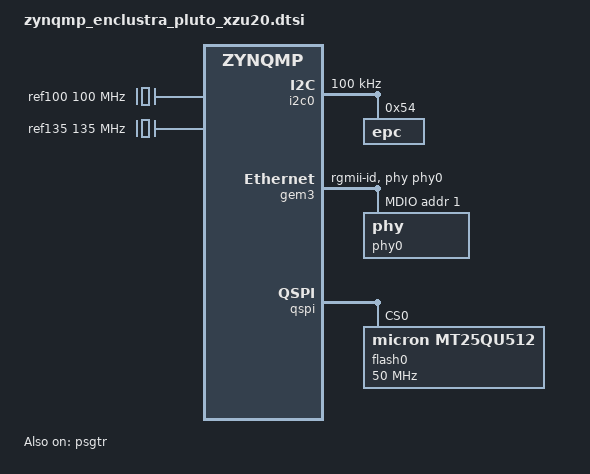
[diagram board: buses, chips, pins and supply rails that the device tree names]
/ {
	aliases {
		ethernet0 = &gem3;
		i2c0 = &i2c0;
		serial0 = &uart0;
		spi0 = &qspi;
	};
};

&i2c0 {
	clock-frequency = <100000>;

	epc@54 {
		status = "okay";
		reg = <0x54>;
	};
};

&gem3 {
	status = "okay";
	/delete-property/ local-mac-address;
	phy-mode = "rgmii-id";
	phy-handle = <&phy0>;
	mdio {
		phy0: phy@1 {
			reg = <1>;
			realtek,center-tap-not-short;
		};
	};
};

&qspi {
	status = "okay";
	#address-cells = <1>;
	#size-cells = <0>;
	is-dual = <0>;
	num-cs = <1>;

	flash0: flash@0 {
		reg = <0x0>;
		compatible = "micron,mt25qu512", "jedec,spi-nor";
		spi-rx-bus-width = <0x4>;
		spi-tx-bus-width = <0x4>;
		spi-max-frequency = <50000000>;
		#address-cells = <1>;
		#size-cells = <1>;
	};
};

&psgtr {
	status = "okay";
	clocks = <&ref100>, <&ref135>;
	clock-names = "ref0", "ref1";
};

&amba {
	ref100: ref100M {
		compatible = "fixed-clock";
		#clock-cells = <0>;
		clock-frequency = <100000000>;
	};
	ref135: ref135M {
		compatible = "fixed-clock";
		#clock-cells = <0>;
		clock-frequency = <135000000>;
	};
};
